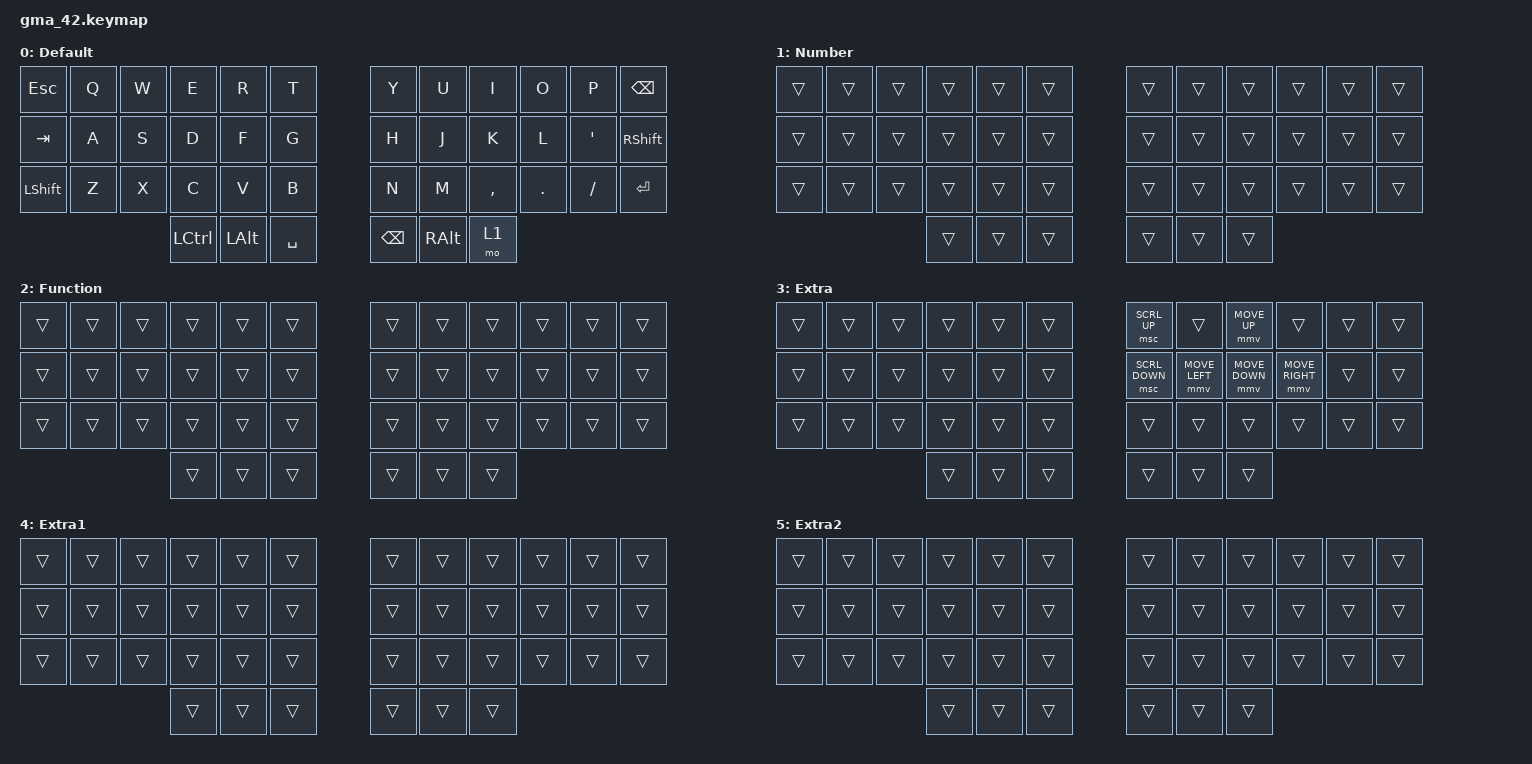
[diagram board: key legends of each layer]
#include <behaviors.dtsi>
#include <dt-bindings/zmk/keys.h>
#include <dt-bindings/zmk/bt.h>
#include <dt-bindings/zmk/pointing.h>


#define COMBO(NAME, BINDINGS, KEYPOS) \
  combo_##NAME { \
    timeout-ms = <50>; \
    bindings = <BINDINGS>; \
    key-positions = <KEYPOS>; \
    layers = <0>; \
  };

/ {

        behaviors {
                hm: homerow_mods {
                        compatible = "zmk,behavior-hold-tap";
                        label = "HOMEROW_MODS";
                        #binding-cells = <2>;
                        tapping_term_ms = <190>;
                        quick-tap-ms = <175>;
                        flavor = "tap-preferred";
                        bindings = <&kp>, <&kp>;
                };
        };

        combos {
                compatible = "zmk,combos";
                      
                COMBO(up, &kp UP, 7 8)
                COMBO(home, &kp HOME, 6 7)
                COMBO(end, &kp END, 8 9)
                COMBO(dw, &kp LEFT, 18 19)
                COMBO(lf, &kp RIGHT, 20 21)
                COMBO(rt, &kp DOWN, 19 20)
                COMBO(number, &tog 1, 41 42)
     
        };

    keymap {
        compatible = "zmk,keymap";

        default_layer {
            display-name = "Default";

            bindings = <
                &kp ESC      &kp Q    &kp W    &kp E       &kp R &kp T &kp Y &kp U    &kp I     &kp O    &kp P     &kp BSPC
                &kp TAB      &kp A    &kp S    &kp D       &kp F &kp G &kp H &kp J    &kp K     &kp L    &kp APOS  &kp RSHFT
                &kp LSHFT    &kp Z    &kp X    &kp C       &kp V &kp B &kp N &kp M    &kp COMMA &kp DOT  &kp FSLH  &kp RET
                                        &kp LCTRL  &kp LALT &kp SPACE    &kp BSPC &kp RALT  &mo 1
            >;
        };

        number_layer {
            display-name = "Number";

            bindings =<
                &trans &trans &trans &trans &trans &trans    &trans &trans &trans &trans &trans &trans
                &trans &trans &trans &trans &trans &trans    &trans &trans &trans &trans &trans &trans
                &trans &trans &trans &trans &trans &trans    &trans &trans &trans &trans &trans &trans
                                   &trans &trans  &trans    &trans &trans  &trans
            >;
        };

        function_layer {
            display-name = "Function";

            bindings =<
                &trans &trans &trans &trans &trans &trans    &trans &trans &trans &trans &trans &trans
                &trans &trans &trans &trans &trans &trans    &trans &trans &trans &trans &trans &trans
                &trans &trans &trans &trans &trans &trans    &trans &trans &trans &trans &trans &trans
                                   &trans &trans  &trans    &trans &trans  &trans
            >;
        };

        extra_layer {
            display-name = "Extra";

            bindings =<
                &trans &trans &trans &trans &trans &trans    &msc SCRL_UP &trans &mmv MOVE_UP &trans &trans &trans
                &trans &trans &trans &trans &trans &trans    &msc SCRL_DOWN &mmv MOVE_LEFT &mmv MOVE_DOWN &mmv MOVE_RIGHT &trans &trans
                &trans &trans &trans &trans &trans &trans    &trans &trans &trans &trans &trans &trans
                                   &trans &trans  &trans    &trans &trans  &trans
            >;
        };

      extra1_layer {
            display-name = "Extra1";

            bindings =<
                &trans &trans &trans &trans &trans &trans    &trans &trans &trans &trans &trans &trans
                &trans &trans &trans &trans &trans &trans    &trans &trans &trans &trans &trans &trans
                &trans &trans &trans &trans &trans &trans    &trans &trans &trans &trans &trans &trans
                                   &trans &trans  &trans    &trans &trans  &trans
            >;
        };
      extra2_layer {
            display-name = "Extra2";

            bindings =<
                &trans &trans &trans &trans &trans &trans    &trans &trans &trans &trans &trans &trans
                &trans &trans &trans &trans &trans &trans    &trans &trans &trans &trans &trans &trans
                &trans &trans &trans &trans &trans &trans    &trans &trans &trans &trans &trans &trans
                                   &trans &trans  &trans    &trans &trans  &trans
            >;
        };
    };
};
